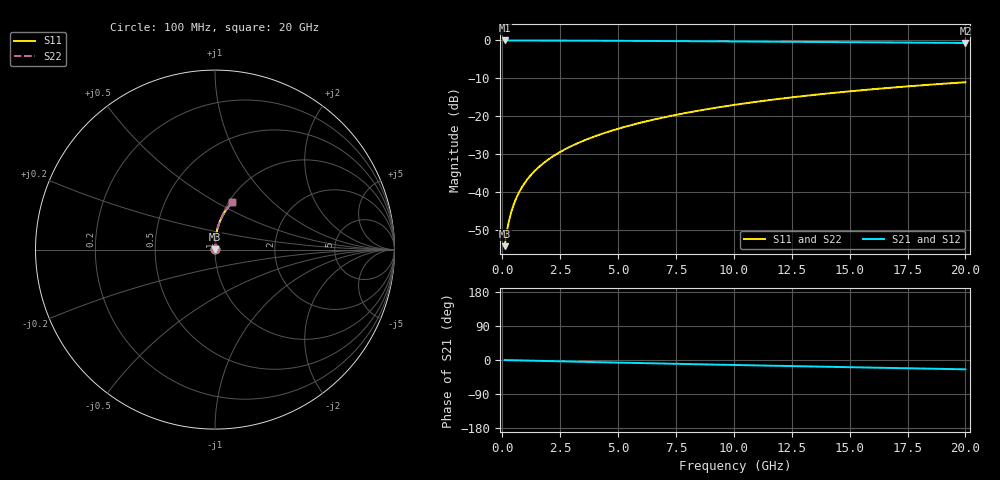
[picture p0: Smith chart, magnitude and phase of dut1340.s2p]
! Touchstone file exported from HFSS 2024.1.0
!  File:  C:/UserFiles/LocalFiles/RDL_TSV_Batchsim/temp_RDL_top_1340_1780365788.aedt
!  Generated:  10:05:25 AM Jun  2, 2026
!  Design:  RDL_top
!  Project:  temp_RDL_top_1340_1780365788
!  Setup:  Setup1
!  Solution:  Sweep
! Variables:
!  dtsv = 10.80580581um
!  hbump = 3um
!  htsv = 87.49um
!  ldown = 100um
!  lrdl = 291.4um
!  p = 40
!  p1 = 58.45um
!  rhole = 1um
!  t = 450um
!  tdown = 3.915915916um
!  trdl = 4.6um
!  wdown = 15.38538539um
!  wrdl = 19.56um
# GHz S MA R 50.000000
! Terminal data exported
! Port[1] = Box2_T1
! Port[2] = Box2_T2
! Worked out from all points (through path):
!   200 points, 100 MHz to 20 GHz, reference 50 ohm
!   highest |S21| = -0.01 dB at 100 MHz (marker M1); lowest = -0.7 dB at 20 GHz (marker M2)
!   group delay of S21, straight-line fit = 3.39 ps
!   lowest |S11| = -54.4 dB at 100 MHz (marker M3), VSWR 1.00, Z = 50.1 + j0.141 ohm
!   |S11| at or under -10 dB: start of sweep to end of sweep
!   |S22| runs from -54.4 to -11.0 dB; largest |S21 - S12| = 2.7e-15
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0.1  0.001915 47.4  0.9987 -0.1  0.9987 -0.1  0.001915 47.4
! Gamma 0 0 0 0
! Port Impedance 50 0 50 0
0.2  0.003045 63.9  0.9986 -0.3  0.9986 -0.3  0.003046 63.9
0.3  0.004286 71.5  0.9986 -0.4  0.9986 -0.4  0.004286 71.5
0.4  0.005571 75.7  0.9985 -0.6  0.9985 -0.6  0.005572 75.7
0.5  0.006878 78.3  0.9984 -0.7  0.9984 -0.7  0.006878 78.3
0.7  0.009521 81.4  0.9982 -1.0  0.9982 -1.0  0.009521 81.4
0.8  0.01085 82.3  0.9982 -1.1  0.9982 -1.1  0.01085 82.3
1  0.01352 83.6  0.998 -1.4  0.998 -1.4  0.01352 83.6
1.2  0.01619 84.4  0.9978 -1.7  0.9978 -1.7  0.01619 84.4
1.4  0.01886 85.0  0.9975 -2.0  0.9975 -2.0  0.01886 85.0
1.7  0.02288 85.5  0.9971 -2.4  0.9971 -2.4  0.02288 85.5
2  0.0269 85.9  0.9966 -2.8  0.9966 -2.8  0.0269 85.9
2.7  0.03633 86.3  0.9952 -3.8  0.9952 -3.8  0.03633 86.3
3.5  0.04723 86.4  0.9931 -4.9  0.9931 -4.9  0.04723 86.4
4.2  0.05688 86.2  0.9911 -5.8  0.9911 -5.8  0.05688 86.2
5  0.06806 85.9  0.9885 -6.9  0.9885 -6.9  0.06806 85.9
6.8  0.09375 84.8  0.982 -9.2  0.982 -9.2  0.09375 84.8
8.4  0.117 83.3  0.9758 -11.2  0.9758 -11.2  0.117 83.3
10.1  0.1419 81.5  0.969 -13.3  0.969 -13.3  0.1419 81.6
13.4  0.1898 77.7  0.9551 -17.2  0.9551 -17.2  0.1898 77.7
16.7  0.2362 73.8  0.9404 -20.9  0.9404 -20.9  0.2362 73.8
20  0.2803 69.8  0.925 -24.6  0.925 -24.6  0.2803 69.8
